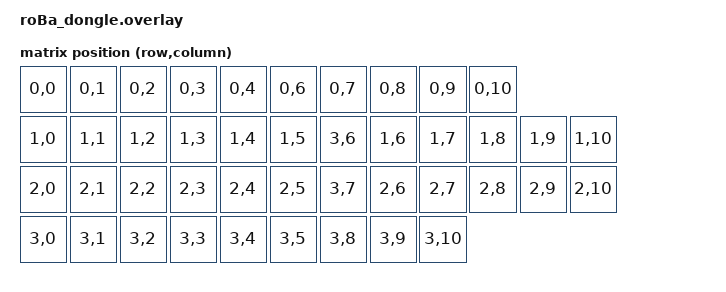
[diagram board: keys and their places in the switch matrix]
#include <dt-bindings/zmk/matrix_transform.h>
#include <dt-bindings/zmk/input_transform.h>
#include <input/processors.dtsi>

/ {
    chosen {
        zmk,kscan = &mock_kscan;
        zmk,matrix_transform = &default_transform;
    };

    mock_kscan: mock_kscan_0 {
        compatible = "zmk,kscan-mock";
        columns = <0>;
        rows = <0>;
        events = <0>;
    };

    default_transform: keymap_transform_0 {
        compatible = "zmk,matrix-transform";
        columns = <11>;
        rows = <4>;
        map = <
            RC(0,0) RC(0,1) RC(0,2) RC(0,3) RC(0,4) RC(0,6) RC(0,7) RC(0,8) RC(0,9) RC(0,10)
            RC(1,0) RC(1,1) RC(1,2) RC(1,3) RC(1,4) RC(1,5) RC(3,6) RC(1,6) RC(1,7) RC(1,8) RC(1,9) RC(1,10)
            RC(2,0) RC(2,1) RC(2,2) RC(2,3) RC(2,4) RC(2,5) RC(3,7) RC(2,6) RC(2,7) RC(2,8) RC(2,9) RC(2,10)
            RC(3,0) RC(3,1) RC(3,2) RC(3,3) RC(3,4) RC(3,5) RC(3,8) RC(3,9) RC(3,10)
        >;
    };

    split_inputs: split_inputs {
        #address-cells = <1>;
        #size-cells = <0>;
        /* Central-side split input receiver — trackball events arrive from roBa_R_periph */
        trackball_split: trackball_split@0 {
            compatible = "zmk,input-split";
            reg = <0>;
        };
    };

    zip_temp_layer: zip_temp_layer {
        compatible = "zmk,input-processor-temp-layer";
        #input-processor-cells = <2>;
    };

    trackball_listener {
        compatible = "zmk,input-listener";
        device = <&trackball_split>;
        input-processors = <&zip_temp_layer 4 500>;
    };
};
